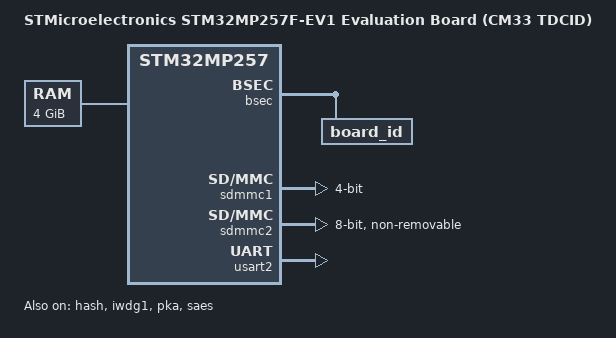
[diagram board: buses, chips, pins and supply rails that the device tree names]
// SPDX-License-Identifier: (GPL-2.0-only OR BSD-3-Clause)
/*
 * Copyright (C) STMicroelectronics 2023 - All Rights Reserved
 * Author: Alexandre Torgue <alexandre.torgue@foss.st.com> for STMicroelectronics.
 */

/dts-v1/;

#include <dt-bindings/clock/stm32mp25-clksrc.h>
#include "stm32mp257.dtsi"
#include "stm32mp25xf.dtsi"
#include "stm32mp257f-ev1-cm33tdcid-ostl-rcc.dtsi"
#include "stm32mp25-ddr4-2x16Gbits-2x16bits-1200MHz.dtsi"
#include "stm32mp25-pinctrl.dtsi"
#include "stm32mp25xxai-pinctrl.dtsi"

/ {
	model = "STMicroelectronics STM32MP257F-EV1 Evaluation Board (CM33 TDCID)";
	compatible = "st,stm32mp257f-ev1-cm33tdcid-ostl", "st,stm32mp257f-ev1", "st,stm32mp257";

	aliases {
		serial0 = &usart2;
	};

	chosen {
		stdout-path = "serial0:115200n8";
	};

	memory@80000000 {
		device_type = "memory";
		reg = <0x0 0x80000000 0x1 0x00000000>;
	};
};

&bsec {
	board_id: board_id@3d8 {
		reg = <0x3d8 0x4>;
	};
};

&hash {
	status = "okay";
};

&iwdg1 {
	timeout-sec = <32>;
	status = "okay";
};

&pka {
	status = "okay";
};

&saes {
	status = "okay";
};

&sdmmc1 {
	pinctrl-names = "default";
	pinctrl-0 = <&sdmmc1_b4_pins_a>;
	st,neg-edge;
	bus-width = <4>;
	status = "okay";
};

&sdmmc2 {
	pinctrl-names = "default";
	pinctrl-0 = <&sdmmc2_b4_pins_a &sdmmc2_d47_pins_a>;
	non-removable;
	no-sd;
	no-sdio;
	st,neg-edge;
	bus-width = <8>;
	status = "okay";
};

&usart2 {
	pinctrl-names = "default";
	pinctrl-0 = <&usart2_pins_a>;
	status = "okay";
};
